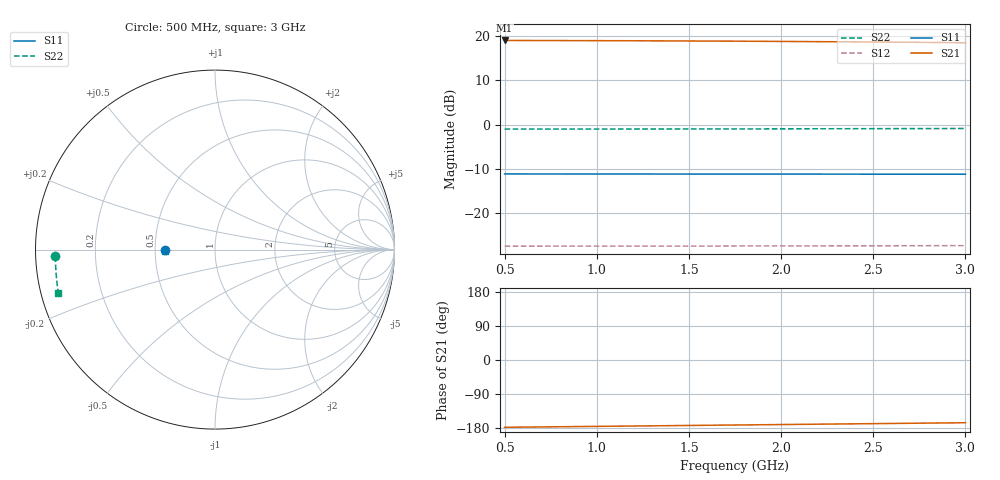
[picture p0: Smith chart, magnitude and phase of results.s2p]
! rfsim (KiCad + openEMS)
# HZ S RI R 50
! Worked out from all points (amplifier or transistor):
!   251 points, 500 MHz to 3 GHz, reference 50 ohm
!   highest |S21| = 19.0 dB at 500 MHz (marker M1)
!   |S21| within 3 dB of that: start of sweep to end of sweep
!   unconditionally stable (mu >= 1): nowhere
!   at 910 MHz: K = 0.19, MSG = 23.2 dB, |S12| = -27.4 dB
!   at 1.75 GHz: K = 0.18, MSG = 23.1 dB, |S12| = -27.4 dB
!   at 3 GHz: K = 0.16, MSG = 22.9 dB, |S12| = -27.3 dB
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5e8  -0.2783 -0.00108  -8.89 -0.3773  -0.0427 0.000784  -0.89 -0.0381
6e8  -0.2783 -0.0013  -8.88 -0.4523  -0.0427 0.000941  -0.8898 -0.0457
7.1e8  -0.2782 -0.00154  -8.867 -0.5346  -0.0427 0.00111  -0.8896 -0.0542
8.1e8  -0.2782 -0.00175  -8.854 -0.6091  -0.0427 0.00127  -0.8893 -0.0618
9.2e8  -0.2781 -0.00198  -8.837 -0.6907  -0.0427 0.00145  -0.889 -0.0703
1.02e9  -0.2781 -0.0022  -8.819 -0.7645  -0.0427 0.00161  -0.8887 -0.078
1.13e9  -0.278 -0.00243  -8.798 -0.8452  -0.0427 0.00178  -0.8882 -0.0866
1.23e9  -0.278 -0.00264  -8.777 -0.9182  -0.0427 0.00194  -0.8878 -0.0943
1.34e9  -0.2779 -0.00287  -8.752 -0.9979  -0.0427 0.00212  -0.8873 -0.1029
1.54e9  -0.2777 -0.00328  -8.701 -1.141  -0.0428 0.00244  -0.8863 -0.1186
1.64e9  -0.2777 -0.00348  -8.672 -1.212  -0.0428 0.0026  -0.8858 -0.1266
1.75e9  -0.2776 -0.0037  -8.639 -1.289  -0.0428 0.00278  -0.8851 -0.1353
1.85e9  -0.2775 -0.0039  -8.608 -1.358  -0.0428 0.00295  -0.8844 -0.1433
1.96e9  -0.2774 -0.00412  -8.571 -1.434  -0.0428 0.00313  -0.8837 -0.1522
2.06e9  -0.2773 -0.00431  -8.535 -1.502  -0.0428 0.0033  -0.8829 -0.1603
2.17e9  -0.2772 -0.00452  -8.495 -1.576  -0.0429 0.00348  -0.882 -0.1693
2.27e9  -0.277 -0.00471  -8.456 -1.642  -0.0429 0.00365  -0.8812 -0.1775
2.38e9  -0.2769 -0.00492  -8.411 -1.713  -0.0429 0.00384  -0.8802 -0.1866
2.48e9  -0.2768 -0.0051  -8.369 -1.778  -0.0429 0.00401  -0.8793 -0.195
2.59e9  -0.2766 -0.0053  -8.321 -1.847  -0.0429 0.0042  -0.8782 -0.2042
2.79e9  -0.2764 -0.00566  -8.228 -1.971  -0.043 0.00455  -0.8761 -0.2213
3e9  -0.2761 -0.00601  -8.124 -2.096  -0.043 0.00493  -0.8736 -0.2396
